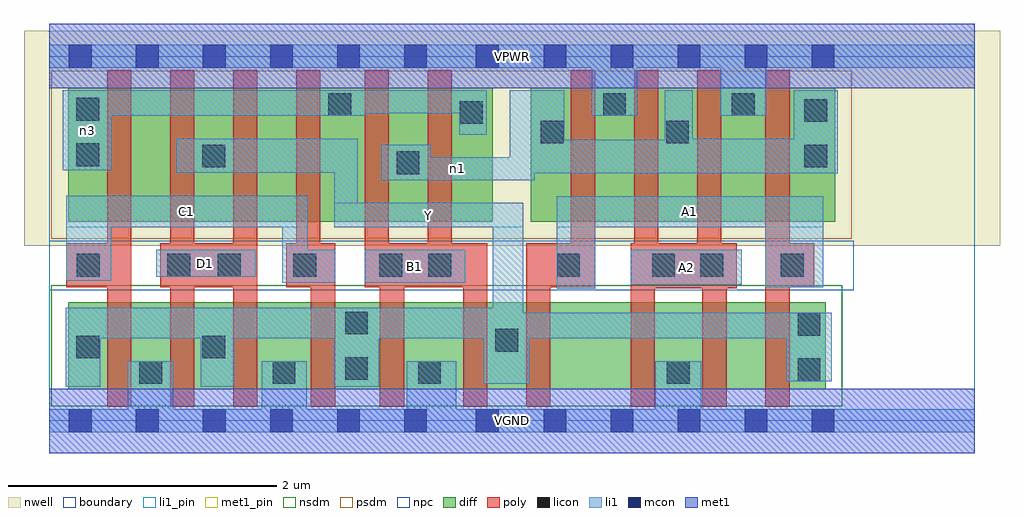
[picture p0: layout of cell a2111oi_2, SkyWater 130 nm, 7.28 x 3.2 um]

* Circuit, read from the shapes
.subckt a2111oi_2 A1 A2 B1 C1 D1 VGND VPWR Y n1 n3
XM1 VGND C1 Y VSUBS sky130_fd_pr__nfet_01v8 w=0.65 l=0.18 m=2
XM2 Y D1 VGND VSUBS sky130_fd_pr__nfet_01v8 w=0.65 l=0.18 m=2
XM3 VGND B1 Y VSUBS sky130_fd_pr__nfet_01v8 w=0.65 l=0.18 m=2
XM4 n2 A1 Y VSUBS sky130_fd_pr__nfet_01v8 w=0.65 l=0.18
XM5 VGND A2 n2 VSUBS sky130_fd_pr__nfet_01v8 w=0.65 l=0.18
XM6 n4 A2 VGND VSUBS sky130_fd_pr__nfet_01v8 w=0.65 l=0.18
XM7 Y A1 n4 VSUBS sky130_fd_pr__nfet_01v8 w=0.65 l=0.18
XM8 n5 C1 n3 n6 sky130_fd_pr__pfet_01v8 w=1 l=0.18
XM9 Y D1 n5 n6 sky130_fd_pr__pfet_01v8 w=1 l=0.18
XM10 n7 D1 Y n6 sky130_fd_pr__pfet_01v8 w=1 l=0.18
XM11 n3 C1 n7 n6 sky130_fd_pr__pfet_01v8 w=1 l=0.18
XM12 n1 B1 n3 n6 sky130_fd_pr__pfet_01v8 w=1 l=0.18 m=2
XM13 VPWR A1 n1 n6 sky130_fd_pr__pfet_01v8 w=1 l=0.18 m=2
XM14 n1 A2 VPWR n6 sky130_fd_pr__pfet_01v8 w=1 l=0.18 m=2
.ends

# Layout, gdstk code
import gdstk
lib = gdstk.Library(unit=1e-6, precision=1e-09)
def R(c, l, rs):  # rectangles x0, y0, x1, y1
    for r in rs: c.add(gdstk.rectangle(r[:2], r[2:], *l))
def A(c, l, x, y, w, h, nx, ny, dx, dy):  # array of equal rectangles
    R(c, l, [(x+i*dx, y+j*dy, x+i*dx+w, y+j*dy+h) for i in range(nx) for j in range(ny)])
nwell = (64, 20)
diff = (65, 20)
poly = (66, 20)
licon = (66, 44)
li1_pin = (67, 16)
li1 = (67, 20)
mcon = (67, 44)
met1_pin = (68, 16)
met1 = (68, 20)
nsdm = (93, 44)
psdm = (94, 20)
npc = (95, 20)
boundary = (235, 4)

a2111oi_2 = lib.new_cell('a2111oi_2')
R(a2111oi_2, nwell, [(-0.19,1.305,7.09,2.91), (0,1.305,6.9,2.91)])
R(a2111oi_2, diff, [(0.14,0.235,5.79,0.885), (0.14,1.485,3.305,2.485), (3.59,1.485,5.86,2.485)])
A(a2111oi_2, poly, 0.43, 0.105, 0.18, 2.51, 3, 1, 0.47, 0)
R(a2111oi_2, poly, [(1.95,0.105,2.13,1.325), (2.465,0.105,2.645,1.325), (3.085,0.105,3.265,1.325), (3.555,0.105,3.735,1.325), (4.335,0.105,4.515,1.325), (4.87,0.105,5.05,1.325), (5.34,0.105,5.52,2.615), (4.335,0.99,5.125,1.325), (4.36,0.99,4.54,2.615), (4.83,0.99,5.01,2.615), (0.125,0.995,0.61,1.325), (0.825,0.995,1.55,1.325), (1.765,0.995,2.13,1.325), (1.84,0.995,2.02,2.615), (2.35,0.995,2.53,2.615), (2.35,0.995,3.265,1.325), (2.82,0.995,3,2.615), (3.555,0.995,4.07,1.325), (3.89,0.995,4.07,2.615), (5.34,0.995,5.705,1.325)])
R(a2111oi_2, licon, [(0.67,0.275,0.84,0.445), (1.665,0.275,1.835,0.445), (2.75,0.275,2.92,0.445), (4.605,0.275,4.775,0.445), (5.58,0.295,5.75,0.465), (2.205,0.305,2.375,0.475), (0.2,0.465,0.37,0.635), (1.14,0.465,1.31,0.635), (3.325,0.515,3.495,0.685), (5.58,0.635,5.75,0.805), (2.205,0.645,2.375,0.815), (0.205,1.075,0.375,1.245), (0.88,1.075,1.05,1.245), (1.255,1.075,1.425,1.245), (1.82,1.075,1.99,1.245), (2.46,1.075,2.63,1.245), (2.825,1.075,2.995,1.245), (3.785,1.075,3.955,1.245), (4.495,1.075,4.665,1.245), (4.855,1.075,5.025,1.245), (5.455,1.075,5.625,1.245), (2.59,1.84,2.76,2.01), (1.14,1.89,1.31,2.06), (5.63,1.89,5.8,2.06), (0.2,1.9,0.37,2.07), (3.665,2.07,3.835,2.24), (4.6,2.07,4.77,2.24), (3.06,2.215,3.23,2.385), (5.63,2.23,5.8,2.4), (0.2,2.24,0.37,2.41), (2.08,2.275,2.25,2.445), (4.13,2.275,4.3,2.445), (5.09,2.275,5.26,2.445)])
R(a2111oi_2, li1_pin, [(4.335,1.015,5.165,1.275), (2.35,1.03,3.1,1.275), (0.795,1.075,1.54,1.275), (0.125,1.445,1.925,1.68), (2.125,1.445,3.535,1.625), (3.785,1.445,5.77,1.675)])
R(a2111oi_2, li1, [(0,-0.085,6.9,0.085), (0.585,-0.085,0.925,0.445), (1.585,-0.085,1.92,0.445), (2.665,-0.085,3.035,0.445), (4.52,-0.085,4.86,0.445), (0.12,0.255,0.38,0.845), (1.13,0.255,1.38,0.845), (2.12,0.255,2.46,0.845), (3.24,0.275,3.58,0.805), (3.305,0.275,3.535,1.625), (5.495,0.295,5.835,0.805), (0.12,0.615,5.835,0.805), (0.12,0.615,3.535,0.845), (3.785,0.985,4.07,1.675), (5.34,0.995,5.77,1.675), (4.335,1.015,5.165,1.275), (1.735,1.03,2.13,1.275), (1.735,1.03,1.925,1.68), (2.35,1.03,3.1,1.275), (0.125,1.045,0.46,1.68), (0.795,1.075,1.54,1.275), (0.125,1.445,1.925,1.68), (2.125,1.445,3.535,1.625), (2.125,1.445,2.3,2.105), (3.785,1.445,5.77,1.675), (2.475,1.795,3.62,1.965), (2.475,1.795,2.845,2.06), (3.435,1.845,5.88,2.095), (3.435,1.845,3.84,2.465), (4.59,1.845,4.8,2.465), (4.59,1.845,5.88,2.105), (5.55,1.845,5.88,2.465), (0.945,1.85,2.3,2.105), (0.1,1.87,0.465,2.465), (3.055,2.135,3.26,2.465), (0.1,2.275,2.35,2.465), (4.045,2.275,4.385,2.805), (5.005,2.275,5.345,2.805), (0.1,2.295,3.26,2.465), (0,2.635,6.9,2.805)])
A(a2111oi_2, mcon, 0.145, -0.085, 0.17, 0.17, 6, 2, 0.5, 2.72)
A(a2111oi_2, mcon, 3.685, -0.085, 0.17, 0.17, 5, 2, 0.5, 2.72)
R(a2111oi_2, mcon, [(3.18,-0.085,3.35,0.085), (3.18,2.635,3.35,2.805)])
R(a2111oi_2, met1_pin, [(0,-0.24,6.9,0.24), (0,2.48,6.9,2.96)])
R(a2111oi_2, met1, [(0,-0.24,6.9,0.24), (0,2.48,6.9,2.96)])
R(a2111oi_2, nsdm, [(0.015,0.11,5.915,1.01)])
R(a2111oi_2, psdm, [(0.015,1.36,5.985,2.61)])
R(a2111oi_2, npc, [(0,0.975,6,1.345)])
R(a2111oi_2, boundary, [(0,0,6.9,2.72)])
a2111oi_2.add(gdstk.Label('A1', (4.777,1.56), layer=67, texttype=5))
a2111oi_2.add(gdstk.Label('A2', (4.75,1.145), layer=67, texttype=5))
a2111oi_2.add(gdstk.Label('B1', (2.725,1.152), layer=67, texttype=5))
a2111oi_2.add(gdstk.Label('C1', (1.025,1.562), layer=67, texttype=5))
a2111oi_2.add(gdstk.Label('D1', (1.167,1.175), layer=67, texttype=5))
a2111oi_2.add(gdstk.Label('Y', (2.83,1.535), layer=67, texttype=5))
a2111oi_2.add(gdstk.Label('n3', (0.282,2.167), layer=67, texttype=5))
a2111oi_2.add(gdstk.Label('n1', (3.047,1.88), layer=67, texttype=5))
a2111oi_2.add(gdstk.Label('VPWR', (3.45,2.72), layer=68, texttype=5))
a2111oi_2.add(gdstk.Label('VGND', (3.45,0), layer=68, texttype=5))
a2111oi_2.add(gdstk.Label('A1', (4.777,1.56), layer=67, texttype=16))
a2111oi_2.add(gdstk.Label('A2', (4.75,1.145), layer=67, texttype=16))
a2111oi_2.add(gdstk.Label('B1', (2.725,1.152), layer=67, texttype=16))
a2111oi_2.add(gdstk.Label('C1', (1.025,1.562), layer=67, texttype=16))
a2111oi_2.add(gdstk.Label('D1', (1.167,1.175), layer=67, texttype=16))
a2111oi_2.add(gdstk.Label('Y', (2.83,1.535), layer=67, texttype=16))
a2111oi_2.add(gdstk.Label('VPWR', (3.45,2.72), layer=68, texttype=16))
a2111oi_2.add(gdstk.Label('VGND', (3.45,0), layer=68, texttype=16))

lib.write_gds('a2111oi_2.gds')
